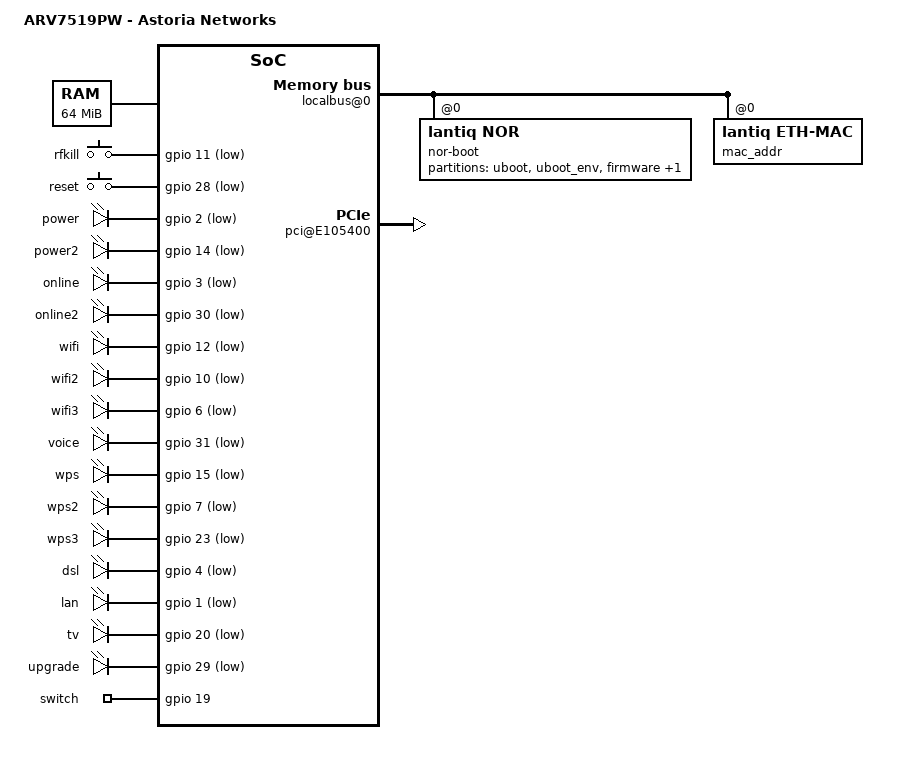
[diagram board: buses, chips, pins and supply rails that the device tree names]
/dts-v1/;

/include/ "danube.dtsi"

/ {
	model = "ARV7519PW - Astoria Networks";

	chosen {
		bootargs = "console=ttyLTQ0,115200 init=/etc/preinit";

		leds {
			boot = &power;
			failsafe = &power2;
			running = &power;

			dsl = &dsl;
			internet = &online;
			wifi = &wifi;
		};
	};

	memory@0 {
		reg = <0x0 0x4000000>;
	};

	sram@1F000000 {
		vmmc@107000 {
			status = "okay";
		};
	};

	fpi@10000000 {
		localbus@0 {
			nor-boot@0 {
				compatible = "lantiq,nor";
				bank-width = <2>;
				reg = <0 0x0 0x2000000>;
				#address-cells = <1>;
				#size-cells = <1>;

				partition@0 {
					label = "uboot";
					reg = <0x00000 0x40000>;
					read-only;
				};

				partition@40000 {
					label = "uboot_env";
					reg = <0x40000 0x20000>;
				};

				partition@60000 {
					label = "firmware";
					reg = <0x60000 0xf80000>;
				};

				partition@fe0000 {
					label = "board_config";
					reg = <0xfe0000 0x20000>;
					read-only;
				};
			};

			mac_addr {
				compatible = "lantiq,eth-mac";
				reg = <0 0xfe0016 0x6>;
				mac-increment = <2>;
			};
		};

		gpio: pinmux@E100B10 {
			pinctrl-names = "default";
			pinctrl-0 = <&state_default>;

			state_default: pinmux {
				ebu {
					lantiq,groups = "ebu cs1";
					lantiq,function = "ebu";
				};
				pci_in {
					lantiq,groups = "req1";
					lantiq,function = "pci";
					lantiq,open-drain = <1>;
					lantiq,pull = <2>;
					lantiq,output = <0>;
				};
				pci_out {
					lantiq,groups = "gnt1";
					lantiq,function = "pci";
					lantiq,pull = <0>;
					lantiq,output = <1>;
				};
				pci_rst {
					lantiq,pins = "io21";
					lantiq,pull = <2>;
					lantiq,output = <1>;
				};
				switch_rst {
					lantiq,pins = "io19";
					lantiq,pull = <2>;
					lantiq,output = <1>;
				};
			};
		};

		etop@E180000 {
			phy-mode = "mii";
		};

		/* warning: passive port
		only works with active devices */
		ifxhcd@E101000 {
			status = "okay";
		};

		pci@E105400 {
			status = "okay";
			lantiq,external-clock;
			gpio-reset = <&gpio 21 0>;
			req-mask = <0xf>;
		};
	};

	ralink_eep {
		compatible = "ralink,eeprom";
		ralink,eeprom = "RT2860.eeprom";
        };

	gpio-keys-polled {
		compatible = "gpio-keys-polled";
		#address-cells = <1>;
		#size-cells = <0>;
		poll-interval = <100>;

		rfkill {
			label = "rfkill";
			gpios = <&gpio 11 1>;
			linux,code = <0xf7>;
		};
		reset {
			label = "reset";
			gpios = <&gpio 28 1>;
			linux,code = <0x198>;
		};
	};

	gpio-leds {
		compatible = "gpio-leds";
		power: power {
			label = "power";
			gpios = <&gpio 2 1>;
			default-state = "keep";
		};
		power2: power2 {
			label = "power2";
			gpios = <&gpio 14 1>;
		};
		online: online {
			label = "online";
			gpios = <&gpio 3 1>;
		};
		online2 {
			label = "online2";
			gpios = <&gpio 30 1>;
		};
		wifi: wifi {
			label = "wifi";
			gpios = <&gpio 12 1>;
		};
		wifi2 {
			label = "wifi2";
			gpios = <&gpio 10 1>;
		};
		wifi3 {
			label = "wifi3";
			gpios = <&gpio 6 1>;
		};
		voice {
			label = "voice";
			gpios = <&gpio 31 1>;
		};
		wps {
			label = "wps";
			gpios = <&gpio 15 1>;
		};
		wps2 {
			label = "wps2";
			gpios = <&gpio 7 1>;
		};
		wps3 {
			label = "wps3";
			gpios = <&gpio 23 1>;
		};
		dsl: dsl {
			label = "dsl";
			gpios = <&gpio 4 1>;
		};
		lan {
			label = "lan";
			gpios = <&gpio 1 1>;
		};
		tv {
			label = "tv";
			gpios = <&gpio 20 1>;
		};
		upgrade {
			label = "upgrade";
			gpios = <&gpio 29 1>;
		};
	};

	/* is there another way to "reserve" the GPIO? */
	gpio_export {
		compatible = "gpio-export";
		#size-cells = <0>;

		switch {
			gpio-export,name = "switch";
			gpio-export,output = <1>;
			gpios = <&gpio 19 0>;
		};
	};
};
